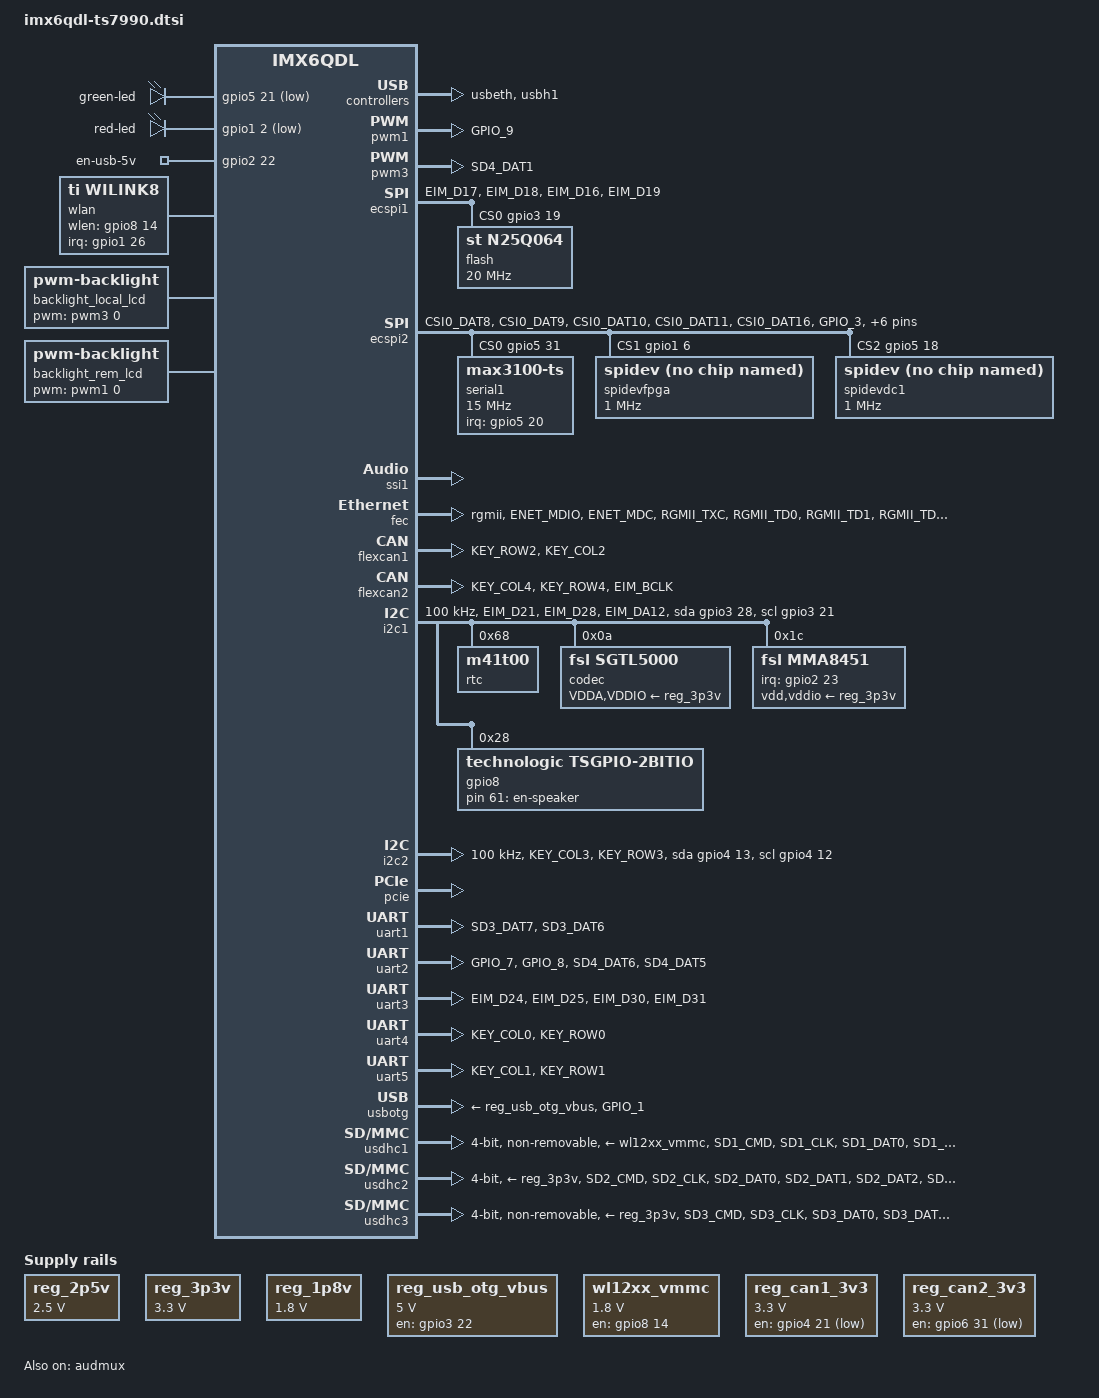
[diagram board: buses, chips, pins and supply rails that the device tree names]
/*
 * Copyright 2011 Freescale Semiconductor, Inc.
 * Copyright 2015-2022 Technologic Systems, Inc. dba embeddedTS
 *
 * The code contained herein is licensed under the GNU General Public
 * License. You may obtain a copy of the GNU General Public License
 * Version 2 or later at the following locations:
 *
 * http://www.opensource.org/licenses/gpl-license.html
 * http://www.gnu.org/copyleft/gpl.html
 */

#include <dt-bindings/interrupt-controller/irq.h>

/ {
	aliases {
		mxcfb0 = &mxcfb0;
		ethernet0 = &fec;
		ethernet1 = &usbeth;
	};

	leds {
		pinctrl-names = "default";
		pinctrl-0 = <&pinctrl_leds1>;
		compatible = "gpio-leds";

		green-led {
			label = "green-led";
			gpios = <&gpio5 21 GPIO_ACTIVE_LOW>;
			default-state = "on";
		};

		red-led {
			label = "red-led";
			gpios = <&gpio1 2 GPIO_ACTIVE_LOW>;
			default-state = "off";
		};

		// These are intended as userspace controlled IO.  In this kernel
		// version LEDs are the best interface I can find to allow both
		// userspace control and a default value.
		en-usb-5v {
			label = "en-usb-5v";
			gpios = <&gpio2 22 GPIO_ACTIVE_HIGH>;
			default-state = "on";
		};

		en-speaker {
			label = "en-speaker";
			gpios = <&gpio8 61 GPIO_ACTIVE_HIGH>;
			default-state = "on";
		};
	};

	regulators {
		compatible = "simple-bus";

		reg_2p5v: 2p5v {
			compatible = "regulator-fixed";
			regulator-name = "2P5V";
			regulator-min-microvolt = <2500000>;
			regulator-max-microvolt = <2500000>;
			regulator-always-on;
		};

		reg_3p3v: 3p3v {
			compatible = "regulator-fixed";
			regulator-name = "3P3V";
			regulator-min-microvolt = <3300000>;
			regulator-max-microvolt = <3300000>;
			regulator-always-on;
		};

		reg_1p8v: 1p8v {
			compatible = "regulator-fixed";
			regulator-name = "1P8V";
			regulator-min-microvolt = <1800000>;
			regulator-max-microvolt = <1800000>;
			regulator-always-on;
		};

		reg_usb_otg_vbus: usb_otg_vbus {
			compatible = "regulator-fixed";
			regulator-name = "usb_otg_vbus";
			regulator-min-microvolt = <5000000>;
			regulator-max-microvolt = <5000000>;
			gpio = <&gpio3 22 0>;
			enable-active-high;
		};

		wl12xx_vmmc: wl12xx_vmmc {
			compatible = "regulator-fixed";
			regulator-name = "wl12xx_vmmc";
			regulator-min-microvolt = <1800000>;
			regulator-max-microvolt = <1800000>;
			gpio = <&gpio8 14 0>;
			startup-delay-us = <100000>;
			enable-active-high;
			regulator-boot-on;
		};

		usb-hub-reset {
			label = "usb-hub-reset";
			regulator-min-microvolt = <5000000>;
			regulator-max-microvolt = <5000000>;
			gpios = <&gpio2 11 0>;
			enable-active-high;
			startup-delay-us = <200>;
		};

		reg_can1_3v3: reg_can1_3v3 {
			compatible = "regulator-fixed";
			regulator-name = "reg_can1_3v3";
			regulator-min-microvolt = <3300000>;
			regulator-max-microvolt = <3300000>;
			gpio = <&gpio4 21 0>;
		};

		reg_can2_3v3: en-reg_can2_3v3 {
			compatible = "regulator-fixed";
			regulator-name = "reg_can2_3v3";
			regulator-min-microvolt = <3300000>;
			regulator-max-microvolt = <3300000>;
			gpio = <&gpio6 31 0>;
		};
	};

	sound {
		compatible = "fsl,imx6q-ts7990-sgtl5000",
			     "fsl,imx-audio-sgtl5000";
		model = "imx6q-ts7990-sgtl5000";
		cpu-dai = <&ssi1>;
		audio-codec = <&codec>;
		audio-routing =
			"MIC_IN", "Mic Jack",
			"Mic Jack", "Mic Bias",
			"Headphone Jack", "HP_OUT";
		mux-int-port = <1>;
		mux-ext-port = <3>;
	};

	lcd@0 {
		compatible = "fsl,lcd";
		ipu_id = <0>;
		disp_id = <0>;
		default_ifmt = "RGB24";
		pinctrl-names = "default";
		pinctrl-0 = <&pinctrl_ipu>;
		status = "okay";
	};

	wlan {
		compatible = "ti,wilink8";
		interrupt-parent = <&gpio1>;
		wlen-gpio = <&gpio8 14 0>;
		interrupts = <26 IRQ_TYPE_EDGE_FALLING>;
	};

	backlight_local_lcd {
		compatible = "pwm-backlight";
		pwms = <&pwm3 0 5000000>;
		brightness-levels = <0 128 140 160 180 200 220 240 255>;
		default-brightness-level = <8>;
	};

	backlight_rem_lcd {
		compatible = "pwm-backlight";
		pwms = <&pwm1 0 5000000>;
		brightness-levels = <0 128 140 160 180 200 220 240 255>;
		default-brightness-level = <8>;
	};

	touchscreen_spi: touch-spi {
		compatible = "spi-gpio";
		pinctrl-names = "default";
		pinctrl-0 = <&pinctrl_touch>;
		status = "disabled";
		gpio-sck = <&gpio2 20 0>;
		gpio-mosi = <&gpio2 18 0>;
		gpio-miso = <&gpio2 17 0>;
		cs-gpios = <&gpio2 19 0>;
		num-chipselects = <1>;
		#address-cells = <1>;
		#size-cells = <0>;

		touch: tsc2046@0 {
			compatible = "ti,tsc2046";
			reg = <0>;
			interrupt-parent = <&gpio3>;
			interrupts = <12 2>;
			vcc-supply = <&reg_3p3v>;
			spi-max-frequency = <100000>;
			pendown-gpio = <&gpio3 12 0>;
			ti,penirq-recheck-delay-usecs = /bits/ 16 <5000>;
			ti,vref-mv = <3300>;
			ti,swap-xy;
			ti,keep-vref-on;
			ti,settle-delay-usec = /bits/ 16 <5000>;
			ti,vref-delay-usecs = /bits/ 16 <0>;
			ti,x-plate-ohms = /bits/ 16 <400>;
			ti,y-plate-ohms = /bits/ 16 <400>;
			ti,debounce-rep = /bits/ 16 <2>;
			ti,debounce-tol = /bits/ 16 <65535>;
			ti,debounce-max = /bits/ 16 <0>;
			ti,pendown-gpio-debounce = <100000>;
			linux,wakeup;
		};
	};

	usbeth: smsc95xx {
		status = "okay";
	};
};

&pwm1 {
	pinctrl-names = "default";
	pinctrl-0 = <&pinctrl_pwm_rem>;
	status = "okay";
};

&pwm3 {
	pinctrl-names = "default";
	pinctrl-0 = <&pinctrl_pwm3>;
	status = "okay";
};

&ecspi1 {
	fsl,spi-num-chipselects = <1>;
	cs-gpios = <&gpio3 19 0>;
	pinctrl-names = "default";
	pinctrl-0 = <&pinctrl_ecspi1>;
	status = "okay";

	flash: n25q064@0 {
		compatible = "st,n25q064";
		spi-max-frequency = <20000000>;
		reg = <0>;
		#address-cells = <1>;
		#size-cells = <1>;

		uboot@0 {
			label = "U-Boot";
			reg = <0x0000000 0x0100000>;
		};
		ubootenv@0100000 {
			label = "env";
			reg = <0x0100000 0x0020000>;
		};
		ubootenv@0200000 {
			label = "splash";
			reg = <0x0200000 0x0100000>;
		};
		user@0400000 {
			label = "user-data";
			reg = <0x0400000 0x0400000>;
		};
	};
};

&ecspi2 {
	fsl,spi-num-chipselects = <3>;
	cs-gpios = <&gpio5 31 0>, <&gpio1 6 0>, <&gpio5 18 0>;
	pinctrl-names = "default";
	pinctrl-0 = <&pinctrl_ecspi2>;
	status = "okay";

	serial1: max3100-0@0 {
		compatible = "max3100-ts";
		reg = <0>;
		interrupt-parent = <&gpio5>;
		interrupts = <20 IRQ_TYPE_LEVEL_LOW>;
		spi-max-frequency = <15000000>;
		loopback = <0>;
		crystal = <1>;
		poll-time = <100>;
		fifo-size = <16>;
	};

	spidevfpga: spi@1 {
		compatible = "spidev";
		reg = <1>;
		spi-max-frequency = <1000000>;
	};

	spidevdc1: spi@2 {
		compatible = "spidev";
		reg = <2>;
		spi-max-frequency = <1000000>;
	};
};

&ssi1 {
	fsl,mode = "i2s-slave";
	status = "okay";
};

&fec {
	pinctrl-names = "default";
	pinctrl-0 = <&pinctrl_enet>;
	phy-mode = "rgmii";
	status = "okay";
};

&flexcan1 {
	pinctrl-names = "default";
	pinctrl-0 = <&pinctrl_flexcan1>;
	status = "okay";
};

&flexcan2 {
	pinctrl-names = "default";
	pinctrl-0 = <&pinctrl_flexcan2>;
	status = "okay";
};

&i2c1 {
	status = "okay";
	clock-frequency = <100000>;
	pinctrl-names = "default", "gpio";
	pinctrl-0 = <&pinctrl_i2c1>;
	pinctrl-1 = <&pinctrl_i2c1_gpio>;
	scl-gpios = <&gpio3 21 0>;
	sda-gpios = <&gpio3 28 0>;

	captouch: pixcir_ts@5c {
		compatible = "pixcir,pixcir_tangoc";
		reg = <0x5c>;
		interrupt-parent = <&gpio3>;
		interrupts = <12 0>;
		attb-gpio = <&gpio3 12 0>;
		touchscreen-size-x = <1024>;
		touchscreen-size-y = <600>;
		status="disabled";
	};

	rtc: m41t00s@68 {
		compatible = "m41t00";
		reg = <0x68>;
	};

	codec: sgtl5000@0a {
		compatible = "fsl,sgtl5000";
		reg = <0x0a>;
		clocks = <&clks 201>;
		VDDA-supply = <&reg_3p3v>;
		VDDIO-supply = <&reg_3p3v>;
	};

	mma8451@1c {
		compatible = "fsl,mma8451";
		reg = <0x1c>;
		position = <0>;
		vdd-supply = <&reg_3p3v>;
		vddio-supply = <&reg_3p3v>;
		interrupt-parent = <&gpio2>;
		interrupts = <23 8>;
		interrupt-route = <1>;
	};

	gpio8: tsgpio@28 {
		compatible = "technologic,tsgpio-2bitio";
		reg = <0x28>;
		#gpio-cells = <2>;
		gpio-controller;
		base = <224>;
		ngpio = /bits/ 16 <64>;
	};
};

&i2c2 {
	status = "okay";
	clock-frequency = <100000>;
	pinctrl-names = "default", "gpio";
	pinctrl-0 = <&pinctrl_i2c2>;
	pinctrl-1 = <&pinctrl_i2c2_gpio>;
	scl-gpios = <&gpio4 12 0>;
	sda-gpios = <&gpio4 13 0>;
};

&iomuxc {
	pinctrl-names = "default";
	pinctrl-0 = <&pinctrl_hog>;

	imx6-ts4900 {
		pinctrl_ecspi1: ecspi1grp {
			fsl,pins = <
				MX6QDL_PAD_EIM_D17__ECSPI1_MISO 0x100b1
				MX6QDL_PAD_EIM_D18__ECSPI1_MOSI 0x100b1
				MX6QDL_PAD_EIM_D16__ECSPI1_SCLK 0x100b1
				MX6QDL_PAD_EIM_D19__GPIO3_IO19  0x100b1 // onboard flash cs#
			>;
		};

		pinctrl_ecspi2: ecspi2 {
			fsl,pins = <
				MX6QDL_PAD_CSI0_DAT8__ECSPI2_SCLK      0x100b1 // FPGA_SPI_CLK
				MX6QDL_PAD_CSI0_DAT9__ECSPI2_MOSI      0x100b1 // FPGA_SPI_MOSI
				MX6QDL_PAD_CSI0_DAT10__ECSPI2_MISO     0x100b1 // FPGA_SPI_MISO
				MX6QDL_PAD_CSI0_DAT11__GPIO5_IO29      0x1b0b1 // Offboard CS0#
				MX6QDL_PAD_CSI0_DAT16__GPIO6_IO02      0x1b0b1 // FPGA CS0#
				MX6QDL_PAD_GPIO_3__XTALOSC_REF_CLK_24M 0x10    // FPGA 24MHZ
				MX6QDL_PAD_CSI0_DATA_EN__GPIO5_IO20    0x1b0b1 // FPGA_IRQ_0
				MX6QDL_PAD_GPIO_4__GPIO1_IO04          0x1b0b1 // FPGA_IRQ_1
				MX6QDL_PAD_EIM_EB0__GPIO2_IO28         0x1b0b1 // FPGA_IRQ_2
				MX6QDL_PAD_CSI0_DAT13__GPIO5_IO31      0x1b0b1 // FPGA_SPI_CS0#
				MX6QDL_PAD_GPIO_6__GPIO1_IO06          0x1b0b1 // FPGA_SPI_CS1#
				MX6QDL_PAD_CSI0_PIXCLK__GPIO5_IO18     0x1c0b1 // DC_SPI_CS#
			>;
		};

		pinctrl_spigpio_rem: spigpio_rem {
			fsl,pins = <
				MX6QDL_PAD_SD3_RST__GPIO7_IO08			0x1b0b1 // SPI_REM_CS#
				MX6QDL_PAD_SD4_DAT7__GPIO2_IO15         0x100b1 // SPI_REM_MOSI
				MX6QDL_PAD_EIM_DA11__GPIO3_IO11         0x100b1 // SPI_REM_MISO
				MX6QDL_PAD_EIM_DA0__GPIO3_IO00			0x1b0b1 // TOUCH_REM_IRQ
				MX6QDL_PAD_EIM_DA2__GPIO3_IO02          0x100b1 // SPI_REM_CLK
			>;
		};

		pinctrl_pwm3: pwm3grp {
			fsl,pins = <
				MX6QDL_PAD_SD4_DAT1__PWM3_OUT 0x1b0b1
			>;
		};

		pinctrl_enet: enet {
			fsl,pins = <
				MX6QDL_PAD_ENET_MDIO__ENET_MDIO       0x1b0b0
				MX6QDL_PAD_ENET_MDC__ENET_MDC         0x1b0b0
				MX6QDL_PAD_RGMII_TXC__RGMII_TXC       0x1b0b0
				MX6QDL_PAD_RGMII_TD0__RGMII_TD0       0x1b0b0
				MX6QDL_PAD_RGMII_TD1__RGMII_TD1       0x1b0b0
				MX6QDL_PAD_RGMII_TD2__RGMII_TD2       0x1b0b0
				MX6QDL_PAD_RGMII_TD3__RGMII_TD3       0x1b0b0
				MX6QDL_PAD_RGMII_TX_CTL__RGMII_TX_CTL 0x1b0b0
				MX6QDL_PAD_ENET_REF_CLK__ENET_TX_CLK  0x1b0b0
				MX6QDL_PAD_RGMII_RXC__RGMII_RXC       0x1b0b0
				MX6QDL_PAD_RGMII_RD0__RGMII_RD0       0x1b0b0
				MX6QDL_PAD_RGMII_RD1__RGMII_RD1       0x1b0b0
				MX6QDL_PAD_RGMII_RD2__RGMII_RD2       0x1b0b0
				MX6QDL_PAD_RGMII_RD3__RGMII_RD3       0x1b0b0
				MX6QDL_PAD_RGMII_RX_CTL__RGMII_RX_CTL 0x1b0b0
				MX6QDL_PAD_ENET_REF_CLK__ENET_TX_CLK  0x4001b0a8
				MX6QDL_PAD_ENET_TX_EN__GPIO1_IO28     0x1b0b1
				MX6QDL_PAD_DI0_PIN4__GPIO4_IO20       0x1b0b1 // ETH_PHY_RESET
			>;
		};

		pinctrl_flexcan1: flexcan1grp {
			fsl,pins = <
				MX6QDL_PAD_KEY_ROW2__FLEXCAN1_RX  0x1b0b1
				MX6QDL_PAD_KEY_COL2__FLEXCAN1_TX  0x1b0b1
			>;
		};

		pinctrl_flexcan2: flexcan2grp {
			fsl,pins = <
				MX6QDL_PAD_KEY_COL4__FLEXCAN2_TX 0x1b0b1
				MX6QDL_PAD_KEY_ROW4__FLEXCAN2_RX 0x1b0b1
				MX6QDL_PAD_EIM_BCLK__GPIO6_IO31  0x1b0b1 // EN_CAN_2#
			>;
		};

		pinctrl_ipu: tsipugrp-1 {
			fsl,pins = <
				MX6QDL_PAD_DI0_DISP_CLK__IPU1_DI0_DISP_CLK      0x38 // LCD_PIX_CLK
				MX6QDL_PAD_DI0_PIN15__IPU1_DI0_PIN15            0xf0 // LCD_DE
				MX6QDL_PAD_DISP0_DAT2__IPU1_DISP0_DATA02        0xe0 // LCD_D02
				MX6QDL_PAD_DISP0_DAT3__IPU1_DISP0_DATA03        0xe0 // LCD_D03
				MX6QDL_PAD_DISP0_DAT4__IPU1_DISP0_DATA04        0xe0 // LCD_D04
				MX6QDL_PAD_DISP0_DAT5__IPU1_DISP0_DATA05        0xe0 // LCD_D05
				MX6QDL_PAD_DISP0_DAT6__IPU1_DISP0_DATA06        0xe0 // LCD_D06
				MX6QDL_PAD_DISP0_DAT7__IPU1_DISP0_DATA07        0xe0 // LCD_D07
				MX6QDL_PAD_DISP0_DAT10__IPU1_DISP0_DATA10       0xe0 // LCD_D10
				MX6QDL_PAD_DISP0_DAT11__IPU1_DISP0_DATA11       0xe0 // LCD_D11
				MX6QDL_PAD_DISP0_DAT12__IPU1_DISP0_DATA12       0xe0 // LCD_D12
				MX6QDL_PAD_DISP0_DAT13__IPU1_DISP0_DATA13       0xe0 // LCD_D13
				MX6QDL_PAD_DISP0_DAT14__IPU1_DISP0_DATA14       0xe0 // LCD_D14
				MX6QDL_PAD_DISP0_DAT15__IPU1_DISP0_DATA15       0xe0 // LCD_D15
				MX6QDL_PAD_DISP0_DAT18__IPU1_DISP0_DATA18       0xe0 // LCD_D18
				MX6QDL_PAD_DISP0_DAT19__IPU1_DISP0_DATA19       0xe0 // LCD_D19
				MX6QDL_PAD_DISP0_DAT20__IPU1_DISP0_DATA20       0xe0 // LCD_D20
				MX6QDL_PAD_DISP0_DAT21__IPU1_DISP0_DATA21       0xe0 // LCD_D21
				MX6QDL_PAD_DISP0_DAT22__IPU1_DISP0_DATA22       0xe0 // LCD_D22
				MX6QDL_PAD_DISP0_DAT23__IPU1_DISP0_DATA23       0xe0 // LCD_D23
			>;
		};

		pinctrl_pwm_rem: rem_pwm {
			fsl,pins = <
				MX6QDL_PAD_GPIO_9__PWM1_OUT            0x1b0b1   // PWM_REM_LCD
			>;
		};

		pinctrl_i2c1: i2c1grp {
			fsl,pins = <
				MX6QDL_PAD_EIM_D21__I2C1_SCL 0x4001b8b1
				MX6QDL_PAD_EIM_D28__I2C1_SDA 0x4001b8b1
				MX6QDL_PAD_EIM_DA12__GPIO3_IO12        0x180b1 // TOUCH_IRQ
			>;
		};

		pinctrl_i2c1_gpio: i2c1gpiogrp {
			fsl,pins = <
				MX6QDL_PAD_EIM_D21__GPIO3_IO21 0x4001b8b1
				MX6QDL_PAD_EIM_D28__GPIO3_IO28 0x4001b8b1
			>;
		};

		pinctrl_i2c2: i2c2grp {
			fsl,pins = <
				MX6QDL_PAD_KEY_COL3__I2C2_SCL 0x4001b8b1
				MX6QDL_PAD_KEY_ROW3__I2C2_SDA 0x4001b8b1
			>;
		};

		pinctrl_i2c2_gpio: i2c2gpiogrp {
			fsl,pins = <
				MX6QDL_PAD_KEY_COL3__GPIO4_IO12 0x4001b8b1
				MX6QDL_PAD_KEY_ROW3__GPIO4_IO13 0x4001b8b1
			>;
		};

		pinctrl_uart1: uart1-grp {
			fsl,pins = <
				MX6QDL_PAD_SD3_DAT7__UART1_TX_DATA    0x1b0b1
				MX6QDL_PAD_SD3_DAT6__UART1_RX_DATA    0x1b0b1
			>;
		};

		pinctrl_uart2: uart2-grp {
			fsl,pins = <
				MX6QDL_PAD_GPIO_7__UART2_TX_DATA    0x1b0b1
				MX6QDL_PAD_GPIO_8__UART2_RX_DATA    0x1b0b1
				MX6QDL_PAD_SD4_DAT6__UART2_CTS_B    0x1b0b1
				MX6QDL_PAD_SD4_DAT5__UART2_RTS_B    0x1b0b1
			>;
		};

		pinctrl_uart3: uart3-grp {
			fsl,pins = <
				MX6QDL_PAD_EIM_D24__UART3_TX_DATA	0x1b0b1
				MX6QDL_PAD_EIM_D25__UART3_RX_DATA	0x1b0b1
				MX6QDL_PAD_EIM_D30__UART3_RTS_B     0x1b0b1
				MX6QDL_PAD_EIM_D31__UART3_CTS_B     0x1b0b1
			>;
		};

		pinctrl_uart4: uart4-grp {
			fsl,pins = <
				MX6QDL_PAD_KEY_COL0__UART4_TX_DATA    0x1b0b1
				MX6QDL_PAD_KEY_ROW0__UART4_RX_DATA    0x1b0b1
			>;
		};

		pinctrl_uart5: uart5-grp {
			fsl,pins = <
				MX6QDL_PAD_KEY_COL1__UART5_TX_DATA    0x1b0b1
				MX6QDL_PAD_KEY_ROW1__UART5_RX_DATA    0x1b0b1
			>;
		};

		pinctrl_usbotg: usbotggrp {
			fsl,pins = <
				MX6QDL_PAD_GPIO_1__USB_OTG_ID 0x17059
			>;
		};

		pinctrl_usdhc1: usdhc1grp {
			fsl,pins = <
				MX6QDL_PAD_SD1_CMD__SD1_CMD      0x17059
				MX6QDL_PAD_SD1_CLK__SD1_CLK      0x10059
				MX6QDL_PAD_SD1_DAT0__SD1_DATA0   0x17059
				MX6QDL_PAD_SD1_DAT1__SD1_DATA1   0x17059
				MX6QDL_PAD_SD1_DAT2__SD1_DATA2   0x17059
				MX6QDL_PAD_SD1_DAT3__SD1_DATA3   0x17059
				MX6QDL_PAD_ENET_RXD1__GPIO1_IO26 0x17059 // WIFI IRQ
			>;
		};

		pinctrl_usdhc2: usdhc2grp {
			fsl,pins = <
				MX6QDL_PAD_SD2_CMD__SD2_CMD    0x17059
				MX6QDL_PAD_SD2_CLK__SD2_CLK    0x10059
				MX6QDL_PAD_SD2_DAT0__SD2_DATA0 0x17059
				MX6QDL_PAD_SD2_DAT1__SD2_DATA1 0x17059
				MX6QDL_PAD_SD2_DAT2__SD2_DATA2 0x17059
				MX6QDL_PAD_SD2_DAT3__SD2_DATA3 0x17059
			>;
		};

		pinctrl_usdhc3: usdhc3grp {
			fsl,pins = <
				MX6QDL_PAD_SD3_CMD__SD3_CMD    0x17059
				MX6QDL_PAD_SD3_CLK__SD3_CLK    0x10059
				MX6QDL_PAD_SD3_DAT0__SD3_DATA0 0x17059
				MX6QDL_PAD_SD3_DAT1__SD3_DATA1 0x17059
				MX6QDL_PAD_SD3_DAT2__SD3_DATA2 0x17059
				MX6QDL_PAD_SD3_DAT3__SD3_DATA3 0x17059
			>;
		};

		pinctrl_leds1: leds1grp {
			fsl,pins = <
				MX6QDL_PAD_GPIO_2__GPIO1_IO02          0x1b0b1 // RED_LED#
				MX6QDL_PAD_CSI0_VSYNC__GPIO5_IO21      0x1b0b1 // GREEN_LED#
			>;
		};

		pinctrl_audmux: audmuxgrp {
			fsl,pins = <
				MX6QDL_PAD_CSI0_DAT7__AUD3_RXD  0x130b0
				MX6QDL_PAD_CSI0_DAT4__AUD3_TXC  0x130b0
				MX6QDL_PAD_CSI0_DAT5__AUD3_TXD  0x110b0
				MX6QDL_PAD_CSI0_DAT6__AUD3_TXFS 0x130b0
				MX6QDL_PAD_GPIO_0__CCM_CLKO1    0x130b0    // Audio CLK
			>;
		};

		pinctrl_touch: touchgrp {
			fsl,pins = <
				MX6QDL_PAD_EIM_A18__GPIO2_IO20         0x100b1 // TOUCH_SPI_CLK
				MX6QDL_PAD_EIM_A19__GPIO2_IO19         0x180b1 // TOUCH_SPI_CS#
				MX6QDL_PAD_EIM_A20__GPIO2_IO18         0x100b1 // TOUCH_SPI_MOSI
				MX6QDL_PAD_EIM_A21__GPIO2_IO17         0x100b1 // TOUCH_SPI_MISO
				MX6QDL_PAD_EIM_DA12__GPIO3_IO12        0x180b1 // TOUCH_IRQ
			>;
		};

		pinctrl_hog: hoggrp {
			fsl,pins = <
				MX6QDL_PAD_SD4_DAT3__GPIO2_IO11        0x80000000 // USB_HUB_RESET#
				MX6QDL_PAD_GPIO_16__GPIO7_IO11         0x80000000 // JTAG_FPGA_TCK
				MX6QDL_PAD_GPIO_17__GPIO7_IO12         0x80000000 // JTAG_FPGA_TDI
				MX6QDL_PAD_GPIO_5__GPIO1_IO05          0x80000000 // JTAG_FPGA_TMS
				MX6QDL_PAD_CSI0_MCLK__GPIO5_IO19       0x80000000 // JTAG_FPGA_TDO
				MX6QDL_PAD_DI0_PIN2__GPIO4_IO18        0x80000000 // EN_232_TRANS
				MX6QDL_PAD_EIM_OE__GPIO2_IO25          0x80000000 // JP_OPTION#
				MX6QDL_PAD_EIM_RW__GPIO2_IO26          0x80000000 // JP_SD_BOOT#
				MX6QDL_PAD_EIM_CS0__GPIO2_IO23         0x80000000 // ACCEL_INT
				MX6QDL_PAD_EIM_A16__GPIO2_IO22         0x80000000 // EN_USB_5V
				MX6QDL_PAD_EIM_D23__GPIO3_IO23         0x80000000 // EN_RTC_PWR#
				MX6QDL_PAD_EIM_EB1__GPIO2_IO29         0x80000000 // EN_800_NIT
				MX6QDL_PAD_EIM_DA4__GPIO3_IO04         0x80000000 // 5V_REG_PWM_MODE
				MX6QDL_PAD_EIM_DA5__GPIO3_IO05         0x80000000 // EN_HUB_3.3V
				MX6QDL_PAD_EIM_DA9__GPIO3_IO09         0x80000000 // PUSH_SW_1#
				MX6QDL_PAD_EIM_DA10__GPIO3_IO10        0x80000000 // PUSH_SW_2#
				MX6QDL_PAD_EIM_DA13__GPIO3_IO13        0x80000000 // GPS_1PPS
				MX6QDL_PAD_EIM_DA15__GPIO3_IO15        0x80000000 // ACCEL_2_INT

				// Strapping only
				MX6QDL_PAD_EIM_LBA__GPIO2_IO27         0x80000000 // BUS_ALE#
				MX6QDL_PAD_EIM_A24__GPIO5_IO04         0x80000000 // DIO_20
				MX6QDL_PAD_EIM_WAIT__GPIO5_IO00        0x80000000 // EIM_WAIT#
				MX6QDL_PAD_EIM_DA6__GPIO3_IO06         0x80000000 // MUX_AD_06
				MX6QDL_PAD_EIM_DA7__GPIO3_IO07         0x80000000 // MUX_AD_07
			>;
		};
	};
};

&pcie {
	status = "okay";
};

&uart1 {
	status = "okay";
	pinctrl-names = "default";
	pinctrl-0 = <&pinctrl_uart1>;
};

&uart2 {
	status = "okay";
	pinctrl-names = "default";
	pinctrl-0 = <&pinctrl_uart2>;
	fsl,uart-has-rtscts;
};

&uart3 {
	status = "okay";
	pinctrl-names = "default";
	pinctrl-0 = <&pinctrl_uart3>;
};

&uart4 {
	status = "okay";
	pinctrl-names = "default";
	pinctrl-0 = <&pinctrl_uart4>;
};

&uart5 {
	status = "okay";
	pinctrl-names = "default";
	pinctrl-0 = <&pinctrl_uart5>;
};

&usbh1 {
	status = "okay";
};

&usbotg {
	vbus-supply = <&reg_usb_otg_vbus>;
	pinctrl-names = "default";
	pinctrl-0 = <&pinctrl_usbotg>;
	disable-over-current;
	status = "okay";
};

// WIFI
&usdhc1 {
	pinctrl-names = "default";
	pinctrl-0 = <&pinctrl_usdhc1>;
	vmmc-supply = <&wl12xx_vmmc>;
	bus-width = <4>;
	status = "okay";
	non-removable;
};

// SD
&usdhc2 {
	pinctrl-names = "default";
	pinctrl-0 = <&pinctrl_usdhc2>;
	vmmc-supply = <&reg_3p3v>;
	bus-width = <4>;
	status = "okay";
	//fsl,cd-controller;
	fsl,wp-controller;
};

// eMMC
&usdhc3 {
	pinctrl-names = "default";
	pinctrl-0 = <&pinctrl_usdhc3>;
	vmmc-supply = <&reg_3p3v>;
	bus-width = <4>;
	status = "okay";
	fsl,wp-controller;
	non-removable;
};

&audmux {
	status = "okay";
	pinctrl-names = "default";
	pinctrl-0 = <&pinctrl_audmux>;
};
